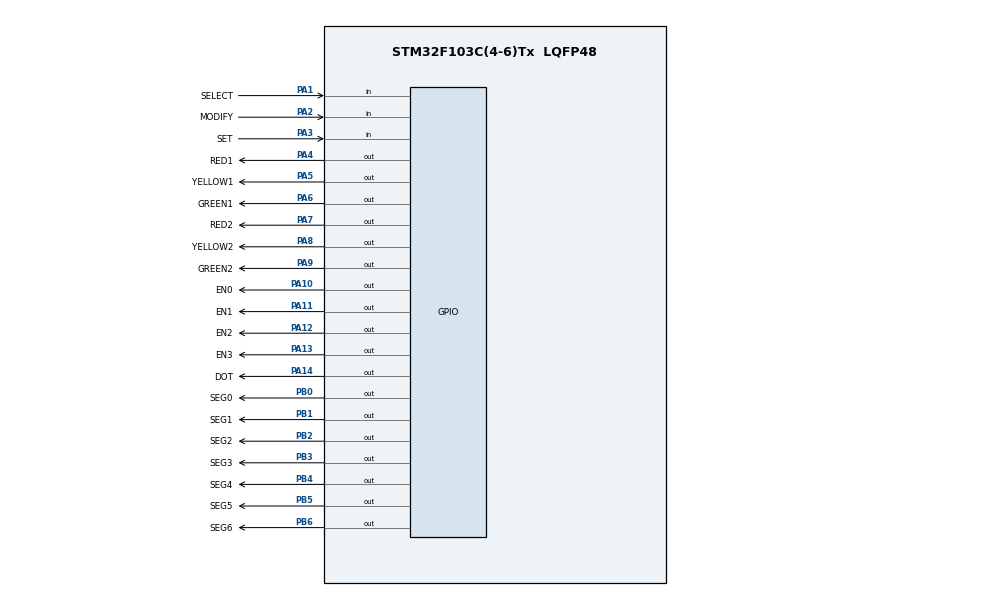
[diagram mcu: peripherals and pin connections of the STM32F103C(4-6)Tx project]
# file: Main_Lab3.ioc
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Mcu.Family=STM32F1
Mcu.Name=STM32F103C(4-6)Tx
Mcu.Package=LQFP48
NVIC.PriorityGroup=NVIC_PRIORITYGROUP_4
NVIC.TIM2_IRQn=true\:0\:0\:false\:false\:true\:true\:true
PA1.GPIO_Label=SELECT
PA1.GPIO_PuPd=GPIO_PULLUP
PA1.Signal=GPIO_Input
PA10.GPIO_Label=EN0
PA10.Signal=GPIO_Output
PA11.GPIO_Label=EN1
PA11.Signal=GPIO_Output
PA12.GPIO_Label=EN2
PA12.Signal=GPIO_Output
PA13.GPIO_Label=EN3
PA13.Signal=GPIO_Output
PA14.GPIO_Label=DOT
PA14.Signal=GPIO_Output
PA2.GPIO_Label=MODIFY
PA2.GPIO_PuPd=GPIO_PULLUP
PA2.Signal=GPIO_Input
PA3.GPIO_Label=SET
PA3.GPIO_PuPd=GPIO_PULLUP
PA3.Signal=GPIO_Input
PA4.GPIO_Label=RED1
PA4.Signal=GPIO_Output
PA5.GPIO_Label=YELLOW1
PA5.Signal=GPIO_Output
PA6.GPIO_Label=GREEN1
PA6.Signal=GPIO_Output
PA7.GPIO_Label=RED2
PA7.Signal=GPIO_Output
PA8.GPIO_Label=YELLOW2
PA8.Signal=GPIO_Output
PA9.GPIO_Label=GREEN2
PA9.Signal=GPIO_Output
PB0.GPIO_Label=SEG0
PB0.Signal=GPIO_Output
PB1.GPIO_Label=SEG1
PB1.Signal=GPIO_Output
PB2.GPIO_Label=SEG2
PB2.Signal=GPIO_Output
PB3.GPIO_Label=SEG3
PB3.Signal=GPIO_Output
PB4.GPIO_Label=SEG4
PB4.Signal=GPIO_Output
PB5.GPIO_Label=SEG5
PB5.Signal=GPIO_Output
PB6.GPIO_Label=SEG6
PB6.Signal=GPIO_Output
ProjectManager.HeapSize=0x200
ProjectManager.StackSize=0x400
ProjectManager.TargetToolchain=STM32CubeIDE
RCC.APB1Freq_Value=8000000
RCC.APB2Freq_Value=8000000
TIM2.Period=9
TIM2.Prescaler=7999
VP_SYS_VS_ND.Mode=No_Debug
VP_TIM2_VS_ClockSourceINT.Mode=Internal
board=custom

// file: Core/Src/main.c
/* USER CODE BEGIN Header */
/**
  ******************************************************************************
  * @file           : main.c
  * @brief          : Main program body
  ******************************************************************************
  * @attention
  *
  * <h2><center>&copy; Copyright (c) 2024 STMicroelectronics.
  * All rights reserved.</center></h2>
  *
  * This software component is licensed by ST under BSD 3-Clause license,
  * the "License"; You may not use this file except in compliance with the
  * License. You may obtain a copy of the License at:
  *                        opensource.org/licenses/BSD-3-Clause
  *
  ******************************************************************************
  */
/* USER CODE END Header */
#include "main.h"

/* USER CODE BEGIN Includes */
#include "button.h"
#include "fsm_automatic.h"
#include "fsm_manual.h"
#include "fsm_setting.h"
#include "global.h"
#include "led7_segment.h"
#include "software_timer.h"
#include "traffic_light.h"
#include "scheduler.h"
/* USER CODE END Includes */

TIM_HandleTypeDef htim2;

void SystemClock_Config(void);
static void MX_TIM2_Init(void);
static void MX_GPIO_Init(void);

int main(void)
{

  /* MCU Configuration--------------------------------------------------------*/

  /* Reset of all peripherals, Initializes the Flash interface and the Systick. */
  HAL_Init();

  /* Configure the system clock */
  SystemClock_Config();

  /* Initialize all configured peripherals */
  MX_TIM2_Init();
  MX_GPIO_Init();
  /* USER CODE BEGIN 2 */

  HAL_TIM_Base_Start_IT(&htim2);
  initButton();

  SCH_Init();

  SCH_Add_Task(fsm_automatic_run, 0, 250);

  SCH_Add_Task(getKeyInput, 10, 10);
  /* USER CODE END 2 */

  /* Infinite loop */
  /* USER CODE BEGIN WHILE */
  while (1)
  {
	  SCH_Dispatch_Tasks();
    /* USER CODE END WHILE */

  }
}

void SystemClock_Config(void)
{
  RCC_OscInitTypeDef RCC_OscInitStruct = {0};
  RCC_ClkInitTypeDef RCC_ClkInitStruct = {0};

  /** Initializes the RCC Oscillators according to the specified parameters
  * in the RCC_OscInitTypeDef structure.
  */
  RCC_OscInitStruct.OscillatorType = RCC_OSCILLATORTYPE_HSI;
  RCC_OscInitStruct.HSIState = RCC_HSI_ON;
  RCC_OscInitStruct.HSICalibrationValue = RCC_HSICALIBRATION_DEFAULT;
  RCC_OscInitStruct.PLL.PLLState = RCC_PLL_NONE;
  if (HAL_RCC_OscConfig(&RCC_OscInitStruct) != HAL_OK)
  {
    Error_Handler();
  }
  /** Initializes the CPU, AHB and APB buses clocks
  */
  RCC_ClkInitStruct.ClockType = RCC_CLOCKTYPE_HCLK|RCC_CLOCKTYPE_SYSCLK
                              |RCC_CLOCKTYPE_PCLK1|RCC_CLOCKTYPE_PCLK2;
  RCC_ClkInitStruct.SYSCLKSource = RCC_SYSCLKSOURCE_HSI;
  RCC_ClkInitStruct.AHBCLKDivider = RCC_SYSCLK_DIV1;
  RCC_ClkInitStruct.APB1CLKDivider = RCC_HCLK_DIV1;
  RCC_ClkInitStruct.APB2CLKDivider = RCC_HCLK_DIV1;

  if (HAL_RCC_ClockConfig(&RCC_ClkInitStruct, FLASH_LATENCY_0) != HAL_OK)
  {
    Error_Handler();
  }
}

static void MX_TIM2_Init(void)
{

  TIM_ClockConfigTypeDef sClockSourceConfig = {0};
  TIM_MasterConfigTypeDef sMasterConfig = {0};

  htim2.Instance = TIM2;
  htim2.Init.Prescaler = 7999;
  htim2.Init.CounterMode = TIM_COUNTERMODE_UP;
  htim2.Init.Period = 9;
  htim2.Init.ClockDivision = TIM_CLOCKDIVISION_DIV1;
  htim2.Init.AutoReloadPreload = TIM_AUTORELOAD_PRELOAD_DISABLE;
  if (HAL_TIM_Base_Init(&htim2) != HAL_OK)
  {
    Error_Handler();
  }
  sClockSourceConfig.ClockSource = TIM_CLOCKSOURCE_INTERNAL;
  if (HAL_TIM_ConfigClockSource(&htim2, &sClockSourceConfig) != HAL_OK)
  {
    Error_Handler();
  }
  sMasterConfig.MasterOutputTrigger = TIM_TRGO_RESET;
  sMasterConfig.MasterSlaveMode = TIM_MASTERSLAVEMODE_DISABLE;
  if (HAL_TIMEx_MasterConfigSynchronization(&htim2, &sMasterConfig) != HAL_OK)
  {
    Error_Handler();
  }

}

static void MX_GPIO_Init(void)
{
  GPIO_InitTypeDef GPIO_InitStruct = {0};

  /* GPIO Ports Clock Enable */
  __HAL_RCC_GPIOA_CLK_ENABLE();
  __HAL_RCC_GPIOB_CLK_ENABLE();

  /*Configure GPIO pin Output Level */
  HAL_GPIO_WritePin(GPIOA, RED1_Pin|YELLOW1_Pin|GREEN1_Pin|RED2_Pin
                          |YELLOW2_Pin|GREEN2_Pin|EN0_Pin|EN1_Pin
                          |EN2_Pin|EN3_Pin|DOT_Pin, GPIO_PIN_RESET);

  /*Configure GPIO pin Output Level */
  HAL_GPIO_WritePin(GPIOB, SEG0_Pin|SEG1_Pin|SEG2_Pin|SEG3_Pin
                          |SEG4_Pin|SEG5_Pin|SEG6_Pin, GPIO_PIN_RESET);

  /*Configure GPIO pins : SELECT_Pin MODIFY_Pin SET_Pin */
  GPIO_InitStruct.Pin = SELECT_Pin|MODIFY_Pin|SET_Pin;
  GPIO_InitStruct.Mode = GPIO_MODE_INPUT;
  GPIO_InitStruct.Pull = GPIO_PULLUP;
  HAL_GPIO_Init(GPIOA, &GPIO_InitStruct);

  /*Configure GPIO pins : RED1_Pin YELLOW1_Pin GREEN1_Pin RED2_Pin
                           YELLOW2_Pin GREEN2_Pin EN0_Pin EN1_Pin
                           EN2_Pin EN3_Pin DOT_Pin */
  GPIO_InitStruct.Pin = RED1_Pin|YELLOW1_Pin|GREEN1_Pin|RED2_Pin
                          |YELLOW2_Pin|GREEN2_Pin|EN0_Pin|EN1_Pin
                          |EN2_Pin|EN3_Pin|DOT_Pin;
  GPIO_InitStruct.Mode = GPIO_MODE_OUTPUT_PP;
  GPIO_InitStruct.Pull = GPIO_NOPULL;
  GPIO_InitStruct.Speed = GPIO_SPEED_FREQ_LOW;
  HAL_GPIO_Init(GPIOA, &GPIO_InitStruct);

  /*Configure GPIO pins : SEG0_Pin SEG1_Pin SEG2_Pin SEG3_Pin
                           SEG4_Pin SEG5_Pin SEG6_Pin */
  GPIO_InitStruct.Pin = SEG0_Pin|SEG1_Pin|SEG2_Pin|SEG3_Pin
                          |SEG4_Pin|SEG5_Pin|SEG6_Pin;
  GPIO_InitStruct.Mode = GPIO_MODE_OUTPUT_PP;
  GPIO_InitStruct.Pull = GPIO_NOPULL;
  GPIO_InitStruct.Speed = GPIO_SPEED_FREQ_LOW;
  HAL_GPIO_Init(GPIOB, &GPIO_InitStruct);

}

/* USER CODE BEGIN 4 */
void HAL_TIM_PeriodElapsedCallback(TIM_HandleTypeDef *htim)
{
//	timer_Run();
//	getKeyInput();
	SCH_Update();
}
/* USER CODE END 4 */

void Error_Handler(void)
{
  __disable_irq();
  while (1)
  {
  }
}

/************************ (C) COPYRIGHT STMicroelectronics *****END OF FILE****/
